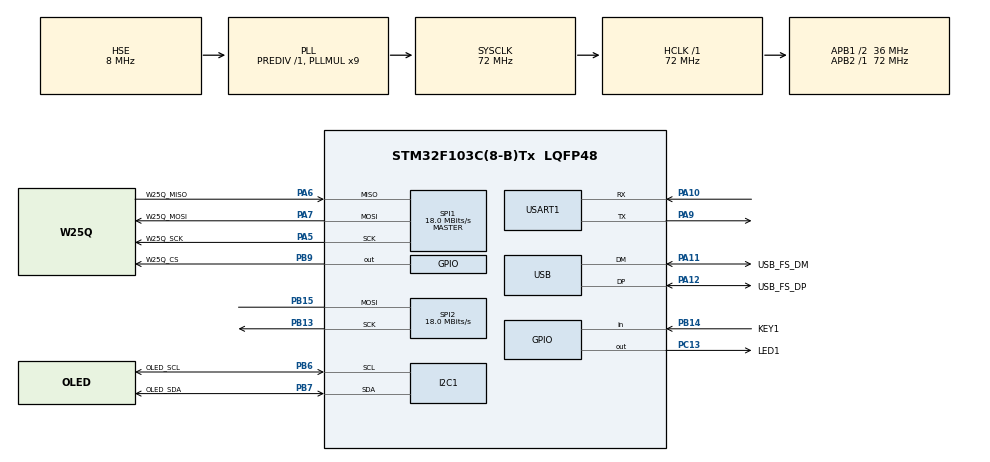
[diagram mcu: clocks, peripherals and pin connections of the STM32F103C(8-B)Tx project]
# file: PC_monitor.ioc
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Dma.Request0=USART1_RX
Dma.Request1=USART1_TX
Dma.USART1_RX.0.Direction=DMA_PERIPH_TO_MEMORY
Dma.USART1_RX.0.Instance=DMA1_Channel5
Dma.USART1_RX.0.MemDataAlignment=DMA_MDATAALIGN_BYTE
Dma.USART1_RX.0.MemInc=DMA_MINC_ENABLE
Dma.USART1_RX.0.Mode=DMA_NORMAL
Dma.USART1_RX.0.PeriphDataAlignment=DMA_PDATAALIGN_BYTE
Dma.USART1_RX.0.PeriphInc=DMA_PINC_DISABLE
Dma.USART1_RX.0.Priority=DMA_PRIORITY_LOW
Dma.USART1_TX.1.Direction=DMA_MEMORY_TO_PERIPH
Dma.USART1_TX.1.Instance=DMA1_Channel4
Dma.USART1_TX.1.MemDataAlignment=DMA_MDATAALIGN_BYTE
Dma.USART1_TX.1.MemInc=DMA_MINC_ENABLE
Dma.USART1_TX.1.Mode=DMA_NORMAL
Dma.USART1_TX.1.PeriphDataAlignment=DMA_PDATAALIGN_BYTE
Dma.USART1_TX.1.PeriphInc=DMA_PINC_DISABLE
Dma.USART1_TX.1.Priority=DMA_PRIORITY_LOW
I2C1.I2C_Mode=I2C_Fast
Mcu.Family=STM32F1
Mcu.Name=STM32F103C(8-B)Tx
Mcu.Package=LQFP48
NVIC.DMA1_Channel4_IRQn=true\:0\:0\:false\:false\:true\:false\:true\:true
NVIC.DMA1_Channel5_IRQn=true\:0\:0\:false\:false\:true\:false\:true\:true
NVIC.PriorityGroup=NVIC_PRIORITYGROUP_4
NVIC.TIM4_IRQn=true\:0\:0\:false\:false\:true\:true\:true\:true
NVIC.USART1_IRQn=true\:0\:0\:false\:false\:true\:true\:true\:true
NVIC.USB_LP_CAN1_RX0_IRQn=true\:0\:0\:false\:false\:true\:false\:true\:true
PA10.GPIO_PuPd=GPIO_PULLUP
PA10.Mode=Asynchronous
PA10.Signal=USART1_RX
PA11.GPIO_Label=USB_FS_DM
PA11.Mode=Device
PA11.Signal=USB_DM
PA12.GPIO_Label=USB_FS_DP
PA12.Mode=Device
PA12.Signal=USB_DP
PA13.Mode=Serial_Wire
PA13.Signal=SYS_JTMS-SWDIO
PA14.Mode=Serial_Wire
PA14.Signal=SYS_JTCK-SWCLK
PA5.GPIO_Label=W25Q_SCK
PA5.Mode=Full_Duplex_Master
PA5.Signal=SPI1_SCK
PA6.GPIO_Label=W25Q_MISO
PA6.Mode=Full_Duplex_Master
PA6.Signal=SPI1_MISO
PA7.GPIO_Label=W25Q_MOSI
PA7.Mode=Full_Duplex_Master
PA7.Signal=SPI1_MOSI
PA9.Mode=Asynchronous
PA9.Signal=USART1_TX
PB13.Mode=Simplex_Bidirectional_Master
PB13.Signal=SPI2_SCK
PB14.GPIO_Label=KEY1
PB14.GPIO_PuPd=GPIO_PULLUP
PB14.Signal=GPIO_Input
PB15.Mode=Simplex_Bidirectional_Master
PB15.Signal=SPI2_MOSI
PB6.GPIO_Label=OLED_SCL
PB6.Mode=I2C
PB6.Signal=I2C1_SCL
PB7.GPIO_Label=OLED_SDA
PB7.Mode=I2C
PB7.Signal=I2C1_SDA
PB9.GPIO_Label=W25Q_CS
PB9.Signal=GPIO_Output
PC13-TAMPER-RTC.GPIO_Label=LED1
PC13-TAMPER-RTC.GPIO_PuPd=GPIO_PULLUP
PC13-TAMPER-RTC.PinState=GPIO_PIN_SET
PC13-TAMPER-RTC.Signal=GPIO_Output
PC14-OSC32_IN.Mode=LSE-External-Oscillator
PC14-OSC32_IN.Signal=RCC_OSC32_IN
PC15-OSC32_OUT.Mode=LSE-External-Oscillator
PC15-OSC32_OUT.Signal=RCC_OSC32_OUT
PD0-OSC_IN.Mode=HSE-External-Oscillator
PD0-OSC_IN.Signal=RCC_OSC_IN
PD1-OSC_OUT.Mode=HSE-External-Oscillator
PD1-OSC_OUT.Signal=RCC_OSC_OUT
ProjectManager.HeapSize=0x200
ProjectManager.StackSize=0x400
ProjectManager.TargetToolchain=MDK-ARM V5.32
RCC.AHBFreq_Value=72000000
RCC.APB1CLKDivider=RCC_HCLK_DIV2
RCC.APB1Freq_Value=36000000
RCC.APB1TimFreq_Value=72000000
RCC.APB2Freq_Value=72000000
RCC.APB2TimFreq_Value=72000000
RCC.HCLKFreq_Value=72000000
RCC.PLLMUL=RCC_PLL_MUL9
RCC.PLLSourceVirtual=RCC_PLLSOURCE_HSE
RCC.SYSCLKFreq_VALUE=72000000
RCC.SYSCLKSource=RCC_SYSCLKSOURCE_PLLCLK
RCC.USBFreq_Value=48000000
RCC.USBPrescaler=RCC_USBCLKSOURCE_PLL_DIV1_5
SPI1.BaudRatePrescaler=SPI_BAUDRATEPRESCALER_4
SPI1.CalculateBaudRate=18.0 MBits/s
SPI1.Direction=SPI_DIRECTION_2LINES
SPI1.Mode=SPI_MODE_MASTER
SPI1.VirtualType=VM_MASTER
SPI2.CalculateBaudRate=18.0 MBits/s
SPI2.Direction=SPI_DIRECTION_1LINE
SPI2.Mode=SPI_MODE_MASTER
SPI2.VirtualType=VM_MASTER
TIM4.Period=1000-1
TIM4.Prescaler=72-1
USART1.VirtualMode=VM_ASYNC
USB_DEVICE.APP_RX_DATA_SIZE=512
USB_DEVICE.APP_TX_DATA_SIZE=512
USB_DEVICE.CLASS_NAME_FS=CDC
USB_DEVICE.USBD_MAX_STR_DESC_SIZ=128
USB_DEVICE.VirtualMode=Cdc
USB_DEVICE.VirtualModeFS=Cdc_FS
VP_TIM4_VS_ClockSourceINT.Mode=Internal
VP_USB_DEVICE_VS_USB_DEVICE_CDC_FS.Mode=CDC_FS
board=custom

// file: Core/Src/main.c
/* USER CODE BEGIN Header */
/**
  ******************************************************************************
  * @file           : main.c
  * @brief          : Main program body
  ******************************************************************************
  * @attention
  *
  * Copyright (c) 2026 STMicroelectronics.
  * All rights reserved.
  *
  * This software is licensed under terms that can be found in the LICENSE file
  * in the root directory of this software component.
  * If no LICENSE file comes with this software, it is provided AS-IS.
  *
  ******************************************************************************
  */
/* USER CODE END Header */
#include "main.h"
#include "dma.h"
#include "i2c.h"
#include "spi.h"
#include "tim.h"
#include "usart.h"
#include "usb_device.h"
#include "gpio.h"

/* USER CODE BEGIN Includes */
#include <stdio.h>
#include "bsp_headfiles.h"
#include "usbd_cdc_if.h"
/* USER CODE END Includes */

void SystemClock_Config(void);

int main(void)
{

  /* MCU Configuration--------------------------------------------------------*/

  /* Reset of all peripherals, Initializes the Flash interface and the Systick. */
  HAL_Init();

  /* Configure the system clock */
  SystemClock_Config();

  /* Initialize all configured peripherals */
  MX_GPIO_Init();
  MX_DMA_Init();
  MX_USART1_UART_Init();
  MX_I2C1_Init();
  MX_TIM4_Init();
  MX_USB_DEVICE_Init();
  MX_SPI1_Init();
  MX_SPI2_Init();
  /* USER CODE BEGIN 2 */
	/* 定义虚拟串口的变量 */
	uint16_t USB_RXNum = 0;
	uint8_t* USB_RxData = NULL;
	/* 开启USART1的接收：DMA+空闲中断 */
	HAL_StatusTypeDef ret = HAL_UARTEx_ReceiveToIdle_DMA(&huart1, xUART1.BuffTemp, sizeof(xUART1.BuffTemp));
	if (ret != HAL_OK)
	{
		printf("[USART1] USART1 RX DMA start failed, ret=%d\r\n", ret);
	}
	else
	{
		printf("[USART1] RX DMA start OK\r\n");
	}
	/* FLASH初始化 */
	W25Qxx_Init();
	/* OLED显示屏初始化	*/
	printf("[OLED] OLED init start\r\n");
	OLED_Init();
	printf("[OLED] OLED init finished.\r\n");
	/* 开定时中断 */
	HAL_TIM_Base_Start_IT(&htim4);
	/* FLASH测试 */
	 W25Qxx_Test();
	/* OLED测试 */
	OLED_ShowString(0,0,"hello world",OLED_8X16);
	OLED_Update();
  /* USER CODE END 2 */

  /* Infinite loop */
  /* USER CODE BEGIN WHILE */
  while (1)
  {
	  if(KEY_check_flag(KEY_1,KEY_SINGLE_PRESS))
	  {
		  printf("[KEY]	key1 pressed.\r\n");
	  }
//	  // 间隔延时, 每1ms执行一次大循环
        HAL_Delay(1);
		/*  读取虚拟串口接收到的字节数和数据 */
		USB_RXNum = CDC_GetRXNum();
		USB_RxData = CDC_GetRXData();
        // 判断接收
        if (USB_RXNum)
        {
            static char myStr[100] = { 0 };
            sprintf(myStr, "\r\r收到 %d 个字节；\r内容是：%s\r\n", USB_RXNum, (char *)USB_RxData); // 格式化字符串
            CDC_Transmit_FS((uint8_t *)myStr, strlen(myStr));                                      // 发送
            CDC_ClearRXNum();                                                                      // 清0接收字节
        }

        // 每500ms 发送一次测试数据
//        static uint16_t sendTime = 0;
//        if (++sendTime >= 500)                            // 每500ms发送测试数据
//        {
//            sendTime = 0;                                 // 清0时间计数
//            CDC_Transmit_FS((uint8_t *)"Hello,借点钱\r\n", sizeof("Hello,借点钱\r\n"));     // 发送数据; 参数：数据地址、字节数
//            //CDC_Transmit_FS((uint8_t *)"", 7);    // 发送数据; 参数：数据地址、字节数
//        }
    /* USER CODE END WHILE */

  }
}

void SystemClock_Config(void)
{
  RCC_OscInitTypeDef RCC_OscInitStruct = {0};
  RCC_ClkInitTypeDef RCC_ClkInitStruct = {0};
  RCC_PeriphCLKInitTypeDef PeriphClkInit = {0};

  /** Initializes the RCC Oscillators according to the specified parameters
  * in the RCC_OscInitTypeDef structure.
  */
  RCC_OscInitStruct.OscillatorType = RCC_OSCILLATORTYPE_HSE;
  RCC_OscInitStruct.HSEState = RCC_HSE_ON;
  RCC_OscInitStruct.HSEPredivValue = RCC_HSE_PREDIV_DIV1;
  RCC_OscInitStruct.HSIState = RCC_HSI_ON;
  RCC_OscInitStruct.PLL.PLLState = RCC_PLL_ON;
  RCC_OscInitStruct.PLL.PLLSource = RCC_PLLSOURCE_HSE;
  RCC_OscInitStruct.PLL.PLLMUL = RCC_PLL_MUL9;
  if (HAL_RCC_OscConfig(&RCC_OscInitStruct) != HAL_OK)
  {
    Error_Handler();
  }

  /** Initializes the CPU, AHB and APB buses clocks
  */
  RCC_ClkInitStruct.ClockType = RCC_CLOCKTYPE_HCLK|RCC_CLOCKTYPE_SYSCLK
                              |RCC_CLOCKTYPE_PCLK1|RCC_CLOCKTYPE_PCLK2;
  RCC_ClkInitStruct.SYSCLKSource = RCC_SYSCLKSOURCE_PLLCLK;
  RCC_ClkInitStruct.AHBCLKDivider = RCC_SYSCLK_DIV1;
  RCC_ClkInitStruct.APB1CLKDivider = RCC_HCLK_DIV2;
  RCC_ClkInitStruct.APB2CLKDivider = RCC_HCLK_DIV1;

  if (HAL_RCC_ClockConfig(&RCC_ClkInitStruct, FLASH_LATENCY_2) != HAL_OK)
  {
    Error_Handler();
  }
  PeriphClkInit.PeriphClockSelection = RCC_PERIPHCLK_USB;
  PeriphClkInit.UsbClockSelection = RCC_USBCLKSOURCE_PLL_DIV1_5;
  if (HAL_RCCEx_PeriphCLKConfig(&PeriphClkInit) != HAL_OK)
  {
    Error_Handler();
  }
}

void Error_Handler(void)
{
  __disable_irq();
  while (1)
  {
  }
}
